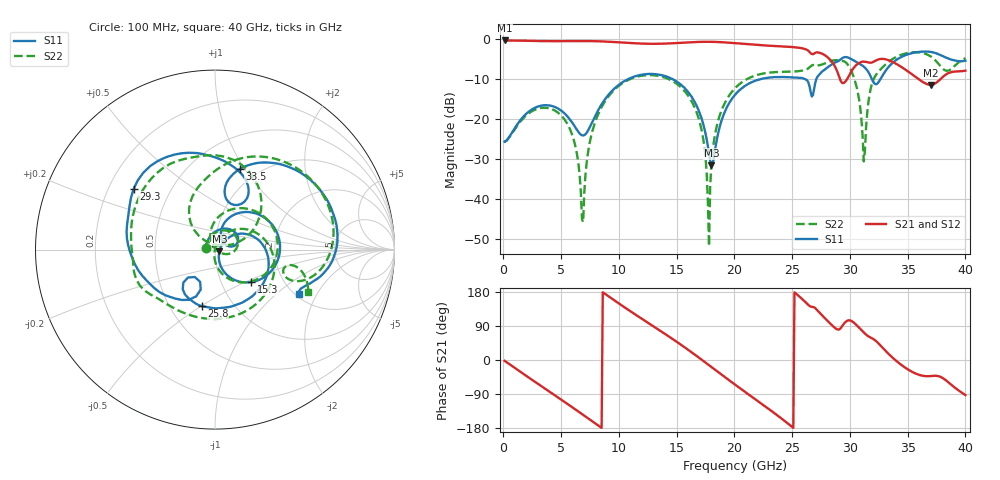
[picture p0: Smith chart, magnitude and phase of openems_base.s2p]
! BV_ts_refinout2: ThunderScope 50 Ω REFINOUT2, through via F.Cu → B.Cu (thick core)
! stackup: Thunderscope_Rev5.3 from the board file and its kisi.json
! ports: 1 in, 2 out
! openEMS 0.37.0, staircase, base mesh (dfine 0.035 mm), 1189888 cells
# Hz S RI R 50
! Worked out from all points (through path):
!   400 points, 100 MHz to 40 GHz, reference 50 ohm
!   highest |S21| = -0.46 dB at 100 MHz (marker M1); lowest = -11.5 dB at 37 GHz (marker M2)
!   group delay of S21, straight-line fit = 57.9 ps
!   lowest |S11| = -31.6 dB at 18 GHz (marker M3), VSWR 1.05, Z = 52.5 - j1.04 ohm
!   |S11| at or under -10 dB: start of sweep to 10.87 GHz; 14.57 GHz to 22.4 GHz (7.833 GHz wide, 42.4 % of centre); 26.03 GHz to 27.1 GHz (1.076 GHz wide, 4.05 % of centre)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
!   |S22| runs from -51.8 to -3.4 dB; largest |S21 - S12| = 0.0038
!   S11 on the Smith chart (normalised r, x): 100 MHz: 0.90, +0.01; 15.3 GHz: 1.38, -0.54; 25.8 GHz: 0.72, -0.50; 29.3 GHz: 0.31, +0.30; 33.5 GHz: 0.82, +0.95; 40 GHz: 2.08, -1.45
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1e8  -0.0512 0.00792  0.9478 -0.0355  0.9477 -0.0353  -0.0512 0.00768
5e9  0.1223 0.0336  -0.2345 -0.8998  -0.2345 -0.8997  0.1099 -0.00649
6.3e9  0.0724 0.0203  -0.6228 -0.6945  -0.6231 -0.6944  0.0355 -0.0199
6.8e9  0.0516 0.0349  -0.7409 -0.5678  -0.7411 -0.5676  0.0056 -0.000416
8.5e9  0.0488 0.1433  -0.9236 -0.0144  -0.9237 -0.0142  -0.0113 0.1397
1.34e10  0.354 -0.0456  0.1402 0.8511  0.1404 0.8509  0.3406 -0.041
1.53e10  0.2019 -0.1813  0.66 0.5905  0.6601 0.5901  0.1748 -0.1819
1.72e10  0.0316 -0.0911  0.9118 0.000847  0.9116 0.000558  0.0013 -0.0675
1.76e10  0.0217 -0.0507  0.9016 -0.1439  0.9014 -0.144  -0.00333 -0.0208
1.78e10  0.0214 -0.0301  0.8872 -0.2153  0.8868 -0.2155  7.85e-05 0.00258
1.8e10  0.0245 -0.0099  0.8663 -0.2855  0.866 -0.2855  0.00732 0.0251
2.01e10  0.1844 0.0843  0.3562 -0.8003  0.3563 -0.8003  0.2252 0.0958
2.58e10  -0.0735 -0.315  -0.727 0.2261  -0.7259 0.2268  -0.2191 -0.3314
2.67e10  -0.1124 -0.1528  -0.4949 0.4082  -0.4931 0.4098  -0.4175 -0.2021
2.93e10  -0.4535 0.3379  0.00921 0.2826  0.00699 0.2826  -0.0441 0.5253
3.06e10  0.0191 0.5073  -0.0119 0.4746  -0.0135 0.4773  0.2144 0.1128
3.12e10  0.1475 0.4224  0.1533 0.4932  0.1552 0.4963  0.017 0.024
3.18e10  0.178 0.2852  0.2574 0.4294  0.2602 0.429  -0.1444 0.1889
3.34e10  0.1192 0.4363  0.5173 0.1345  0.5174 0.1343  0.1271 0.5036
3.35e10  0.1371 0.4487  0.5167 0.1063  0.5167 0.1062  0.1526 0.5102
3.7e10  0.6816 0.0421  0.1956 -0.1783  0.1955 -0.179  0.5888 -0.1098
4e10  0.4679 -0.2498  -0.0181 -0.3975  -0.0182 -0.3968  0.5198 -0.2339
